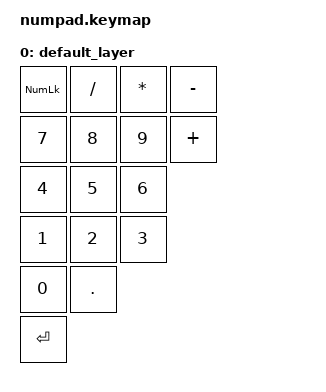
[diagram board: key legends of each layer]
/ {
    keymap {
        compatible = "zmk,keymap";

        default_layer {
            bindings = <
                &kp NUMLOCK &kp SLASH &kp STAR  &kp MINUS
                &kp N7      &kp N8    &kp N9    &kp PLUS
                &kp N4      &kp N5    &kp N6
                &kp N1      &kp N2    &kp N3
                &kp N0      &kp DOT
                &kp ENTER
            >;
        };
    };
};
